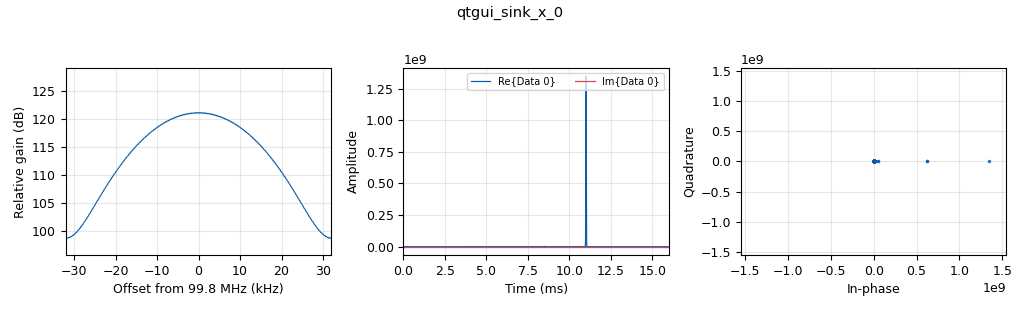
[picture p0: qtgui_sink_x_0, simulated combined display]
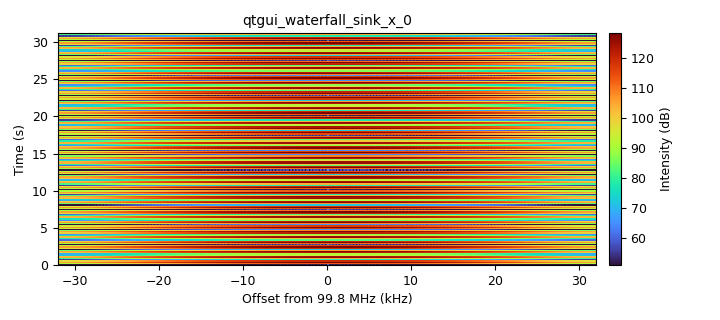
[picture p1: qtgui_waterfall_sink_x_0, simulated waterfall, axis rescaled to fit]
options:
  parameters:
    generate_options: qt_gui
    id: PSSR
    output_language: python
    title: Passive Radar
  states: {}

blocks:
- name: freq
  id: variable
  parameters:
    value: 99.8e6
  states: {}
- name: samp_rate
  id: variable
  parameters:
    value: 64e3
  states: {}
- name: analog_fastnoise_source_x_0
  id: analog_fastnoise_source_x
  parameters:
    amp: '3'
    noise_type: analog.GR_GAUSSIAN
    samples: '8192'
    seed: '2'
    type: complex
  states: {}
- name: analog_sig_source_x_0
  id: analog_sig_source_x
  parameters:
    amp: '5'
    freq: 10e3
    offset: '-100'
    phase: '0'
    samp_rate: samp_rate
    type: complex
    waveform: analog.GR_COS_WAVE
  states: {}
- name: blocks_add_xx_0
  id: blocks_add_xx
  parameters:
    type: complex
  states: {}
- name: blocks_delay_0
  id: blocks_delay
  parameters:
    delay: '0'
    type: complex
  states: {}
- name: blocks_multiply_conjugate_cc_0
  id: blocks_multiply_conjugate_cc
  parameters:
    vlen: '1024'
  states: {}
- name: blocks_stream_to_vector_0
  id: blocks_stream_to_vector
  parameters:
    num_items: '1024'
    type: complex
  states: {}
- name: blocks_stream_to_vector_0_0
  id: blocks_stream_to_vector
  parameters:
    num_items: '1024'
    type: complex
  states: {}
- name: blocks_throttle_0
  id: blocks_throttle
  parameters:
    samples_per_second: samp_rate
    type: complex
  states: {}
- name: blocks_throttle_0_0
  id: blocks_throttle
  parameters:
    samples_per_second: samp_rate
    type: complex
  states: {}
- name: blocks_vector_to_stream_0
  id: blocks_vector_to_stream
  parameters:
    num_items: '1024'
    type: complex
  states: {}
- name: fft_vxx_0
  id: fft_vxx
  parameters:
    fft_size: '1024'
    forward: 'False'
    shift: 'True'
    type: complex
    window: window.blackmanharris(1024)
  states: {}
- name: fft_vxx_0_0
  id: fft_vxx
  parameters:
    fft_size: '1024'
    forward: 'False'
    shift: 'True'
    type: complex
    window: window.blackmanharris(1024)
  states: {}
- name: qtgui_sink_x_0
  id: qtgui_sink_x
  parameters:
    bw: samp_rate
    fc: freq
    fftsize: '1024'
    showrf: 'True'
    type: complex
  states: {}
- name: qtgui_waterfall_sink_x_0
  id: qtgui_waterfall_sink_x
  parameters:
    bw: samp_rate
    fc: freq
    fftsize: '1024'
    int_max: '50'
    int_min: '0'
    type: complex
    update_time: '0.20'
  states: {}

connections:
- [analog_fastnoise_source_x_0, '0', blocks_throttle_0, '0']
- [analog_sig_source_x_0, '0', blocks_throttle_0_0, '0']
- [blocks_add_xx_0, '0', blocks_delay_0, '0']
- [blocks_add_xx_0, '0', blocks_stream_to_vector_0, '0']
- [blocks_delay_0, '0', blocks_stream_to_vector_0_0, '0']
- [blocks_multiply_conjugate_cc_0, '0', blocks_vector_to_stream_0, '0']
- [blocks_stream_to_vector_0, '0', fft_vxx_0_0, '0']
- [blocks_stream_to_vector_0_0, '0', fft_vxx_0, '0']
- [blocks_throttle_0, '0', blocks_add_xx_0, '0']
- [blocks_throttle_0_0, '0', blocks_add_xx_0, '1']
- [blocks_vector_to_stream_0, '0', qtgui_sink_x_0, '0']
- [blocks_vector_to_stream_0, '0', qtgui_waterfall_sink_x_0, '0']
- [fft_vxx_0, '0', blocks_multiply_conjugate_cc_0, '1']
- [fft_vxx_0_0, '0', blocks_multiply_conjugate_cc_0, '0']

metadata:
  file_format: 1
